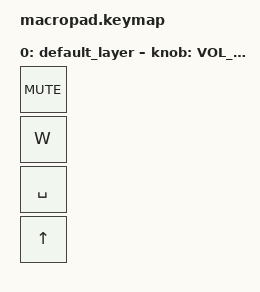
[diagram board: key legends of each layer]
#include <behaviors.dtsi>
#include <dt-bindings/zmk/keys.h>
#include <dt-bindings/zmk/bt.h>

/ {
    keymap {
        compatible = "zmk,keymap";

        default_layer {
            bindings = <
                &kp C_MUTE      /* encoder knop (drukken) = mute */
                &kp W           /* switch 1 = W */
                &kp SPACE       /* switch 2 = Space */
                &kp UP          /* switch 3 = Pijl omhoog */
            >;

            /* encoder draaien = volume omhoog/omlaag */
            sensor-bindings = <&inc_dec_kp C_VOL_UP C_VOL_DN>;
        };
    };
};
